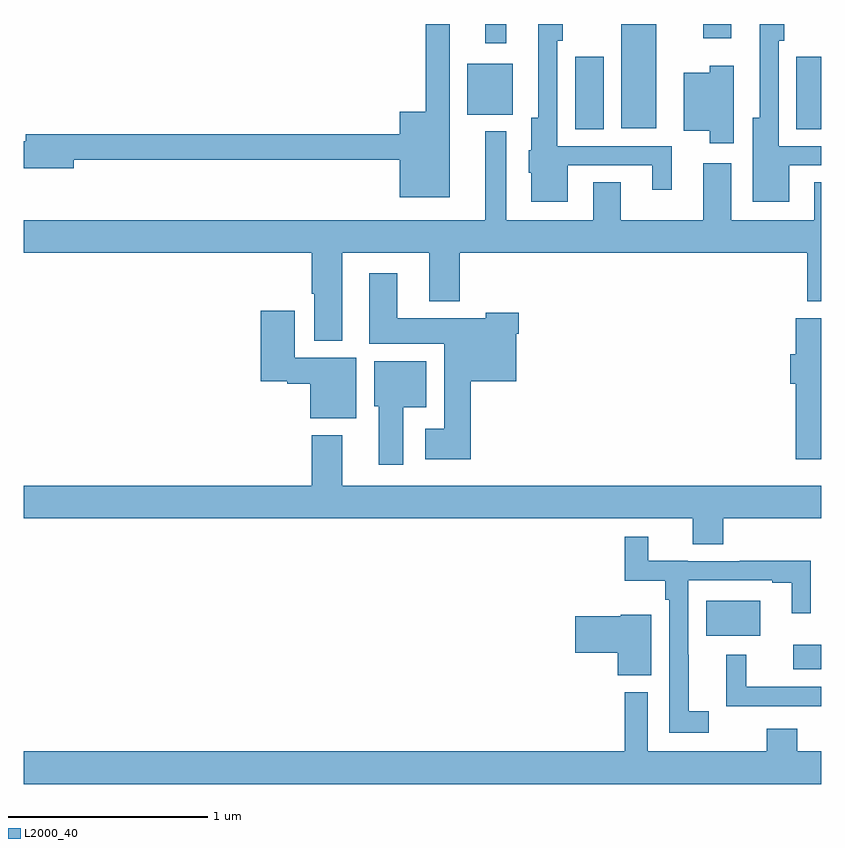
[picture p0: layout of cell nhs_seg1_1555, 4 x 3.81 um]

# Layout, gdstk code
import gdstk
lib = gdstk.Library(unit=1e-6, precision=1e-09)
def R(c, l, rs):  # rectangles x0, y0, x1, y1
    for r in rs: c.add(gdstk.rectangle(r[:2], r[2:], *l))
def P(c, l, *ps):  # polygons
    for p in ps: c.add(gdstk.Polygon(p, *l))
L2000_40 = (2000, 40)

nhs_seg1_1555 = lib.new_cell('nhs_seg1_1555')
R(nhs_seg1_1555, L2000_40, [(198.858,562.964,199,563.086), (198.422,563.132,198.694,563.308), (197.765,565.672,197.908,566.035), (198.875,565.672,199,566.035), (197.996,565.676,198.172,566.199), (197.225,565.745,197.452,565.999), (197.315,566.103,197.419,566.199), (198.407,566.127,198.547,566.199)])
P(nhs_seg1_1555, L2000_40, [(198.838,565.491),(199,565.491),(199,565.587),(198.786,565.587),(198.786,566.115),(198.813,566.115),(198.813,566.199),(198.69,566.199),(198.69,565.729),(198.656,565.729),(198.656,565.307),(198.838,565.307)],
  [(197.137,566.199),(197.016,566.199),(197.016,565.759),(196.886,565.759),(196.886,565.646),(195.011,565.646),(195.011,565.61),(195,565.61),(195,565.475),(195.25,565.475),(195.25,565.518),(196.886,565.518),(196.886,565.331),(197.137,565.331)],
  [(197.728,565.491),(198.152,565.491),(198.152,565.368),(198.25,565.368),(198.25,565.587),(197.676,565.587),(197.676,566.115),(197.703,566.115),(197.703,566.199),(197.58,566.199),(197.58,565.729),(197.546,565.729),(197.546,565.566),(197.534,565.566),(197.534,565.452),(197.546,565.452),(197.546,565.307),(197.728,565.307)],
  [(198.562,565.99),(198.44,565.99),(198.44,565.954),(198.311,565.954),(198.311,565.664),(198.44,565.664),(198.44,565.602),(198.562,565.602)],
  [(195,565.052),(196.445,565.052),(196.445,564.847),(196.457,564.847),(196.457,564.611),(196.597,564.611),(196.597,565.052),(197.033,565.052),(197.033,564.809),(197.186,564.809),(197.186,565.052),(198.929,565.052),(198.929,564.809),(199,564.809),(199,565.406),(198.965,565.406),(198.965,565.216),(198.547,565.216),(198.547,565.501),(198.407,565.501),(198.407,565.216),(197.995,565.216),(197.995,565.406),(197.855,565.406),(197.855,565.216),(197.419,565.216),(197.419,565.66),(197.315,565.66),(197.315,565.216),(195,565.216)],
  [(197.243,564.407),(197.47,564.407),(197.47,564.647),(197.483,564.647),(197.483,564.751),(197.316,564.751),(197.316,564.724),(196.873,564.724),(196.873,564.949),(196.733,564.949),(196.733,564.596),(197.108,564.596),(197.108,564.169),(197.013,564.169),(197.013,564.017),(197.243,564.017)],
  [(196.669,564.526),(196.36,564.526),(196.36,564.76),(196.19,564.76),(196.19,564.407),(196.323,564.407),(196.323,564.395),(196.436,564.395),(196.436,564.221),(196.669,564.221)],
  [(199,564.724),(198.872,564.724),(198.872,564.542),(198.845,564.542),(198.845,564.395),(198.872,564.395),(198.872,564.017),(199,564.017)],
  [(196.903,564.278),(197.02,564.278),(197.02,564.508),(196.757,564.508),(196.757,564.282),(196.781,564.282),(196.781,563.988),(196.903,563.988)],
  [(198.509,563.72),(199,563.72),(199,563.884),(196.597,563.884),(196.597,564.136),(196.445,564.136),(196.445,563.884),(195,563.884),(195,563.72),(198.356,563.72),(198.356,563.59),(198.509,563.59)],
  [(198.436,562.753),(198.335,562.753),(198.335,563.036),(198.333,563.036),(198.333,563.409),(198.755,563.409),(198.755,563.397),(198.851,563.397),(198.851,563.244),(198.948,563.244),(198.948,563.507),(198.592,563.507),(198.592,563.505),(198.33,563.505),(198.33,563.507),(198.132,563.507),(198.132,563.629),(198.013,563.629),(198.013,563.408),(198.217,563.408),(198.217,563.312),(198.237,563.312),(198.237,562.644),(198.436,562.644)],
  [(198.148,563.236),(197.994,563.236),(197.994,563.228),(197.766,563.228),(197.766,563.045),(197.978,563.045),(197.978,562.933),(198.148,562.933)],
  [(199,562.875),(198.624,562.875),(198.624,563.035),(198.524,563.035),(198.524,562.779),(199,562.779)],
  [(199,562.552),(198.878,562.552),(198.878,562.666),(198.725,562.666),(198.725,562.552),(198.129,562.552),(198.129,562.848),(198.013,562.848),(198.013,562.552),(195,562.552),(195,562.388),(199,562.388)])

lib.write_gds('nhs_seg1_1555.gds')
